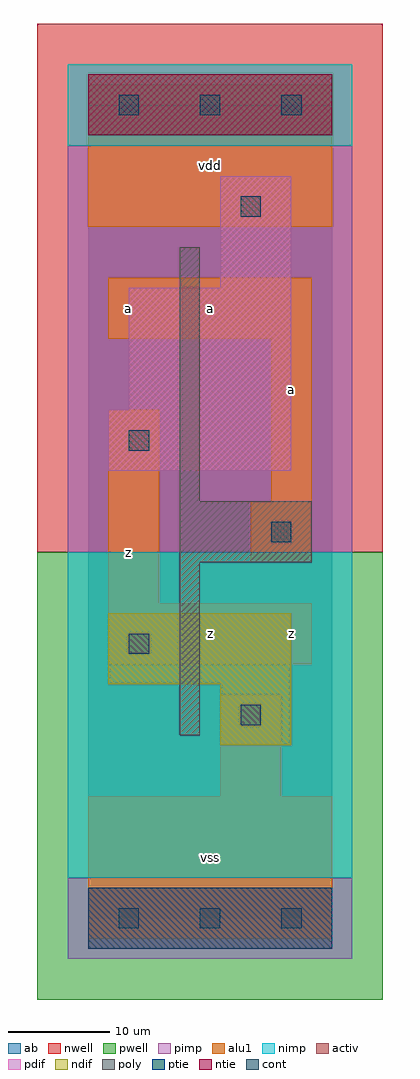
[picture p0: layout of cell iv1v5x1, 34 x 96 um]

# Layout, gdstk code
import gdstk
lib = gdstk.Library(unit=1e-6, precision=1e-09)
def R(c, l, rs):  # rectangles x0, y0, x1, y1
    for r in rs: c.add(gdstk.rectangle(r[:2], r[2:], *l))
def A(c, l, x, y, w, h, nx, ny, dx, dy):  # array of equal rectangles
    R(c, l, [(x+i*dx, y+j*dy, x+i*dx+w, y+j*dy+h) for i in range(nx) for j in range(ny)])
ndif = (3, 0)
pdif = (4, 0)
ntie = (5, 0)
ptie = (6, 0)
cont = (25, 0)
pwell = (41, 0)
nwell = (42, 0)
activ = (43, 0)
pimp = (44, 0)
nimp = (45, 0)
poly = (46, 0)
alu1 = (49, 0)
ab = (63, 0)

iv1v5x1 = lib.new_cell('iv1v5x1')
R(iv1v5x1, ndif, [(13,17,20,23), (2,23,20,30)])
R(iv1v5x1, pdif, [(2,44,20,50), (4,50,20,62), (13,62,20,73)])
R(iv1v5x1, ntie, [(0,77,24,83)])
R(iv1v5x1, ptie, [(0,-3,24,3)])
A(iv1v5x1, cont, 3, -1, 2, 2, 3, 2, 8, 80)
R(iv1v5x1, cont, [(15,19,17,21), (4,26,6,28), (18,37,20,39), (4,46,6,48), (15,69,17,71)])
R(iv1v5x1, pwell, [(-5,-8,29,36)])
R(iv1v5x1, nwell, [(-5,36,29,88)])
R(iv1v5x1, activ, [(0,-3,24,3), (13,17,20,23), (2,23,20,30), (2,44,20,50), (4,50,20,62), (13,62,20,73), (0,77,24,83)])
R(iv1v5x1, pimp, [(-2,-4,26,4), (-2,36,26,76)])
R(iv1v5x1, nimp, [(-2,4,26,36), (-2,76,26,84)])
R(iv1v5x1, poly, [(9,18,11,35), (9,35,22,41), (9,41,11,66)])
R(iv1v5x1, alu1, [(0,-2,24,12), (13,12,19,22), (2,25,22,31), (2,31,7,50), (16,35,22,41), (18,41,22,57), (2,57,22,63), (0,68,24,82)])
R(iv1v5x1, ab, [(0,0,24,80)])
iv1v5x1.add(gdstk.Label('z', (4,36), layer=49, texttype=0))
iv1v5x1.add(gdstk.Label('a', (4,60), layer=49, texttype=0))
iv1v5x1.add(gdstk.Label('vss', (12,6), layer=49, texttype=0))
iv1v5x1.add(gdstk.Label('z', (12,28), layer=49, texttype=0))
iv1v5x1.add(gdstk.Label('a', (12,60), layer=49, texttype=0))
iv1v5x1.add(gdstk.Label('vdd', (12,74), layer=49, texttype=0))
iv1v5x1.add(gdstk.Label('z', (20,28), layer=49, texttype=0))
iv1v5x1.add(gdstk.Label('a', (20,52), layer=49, texttype=0))

lib.write_gds('iv1v5x1.gds')
